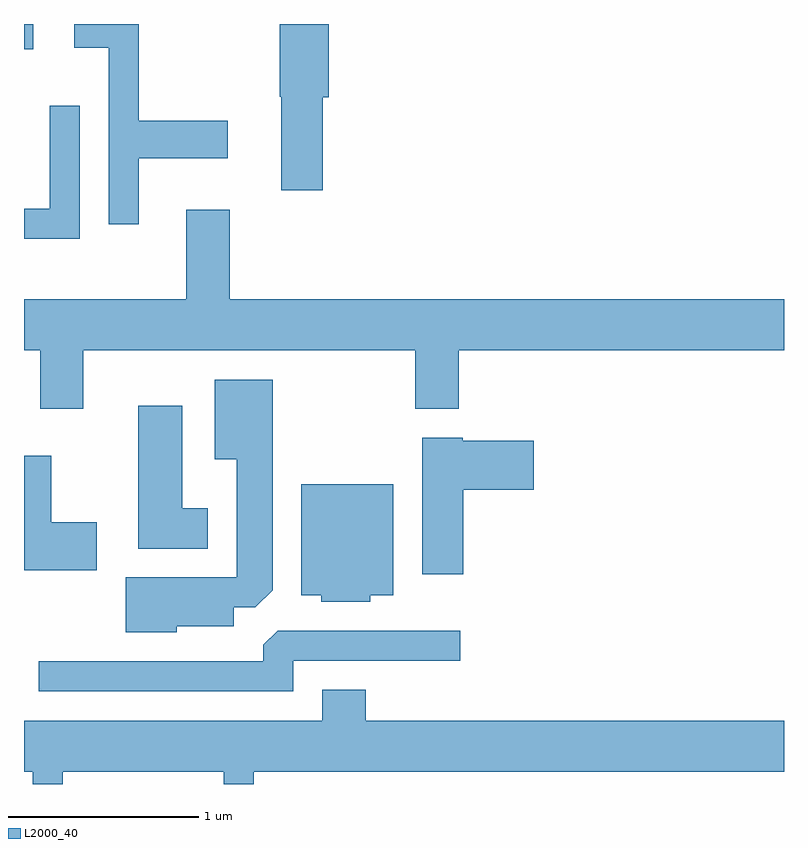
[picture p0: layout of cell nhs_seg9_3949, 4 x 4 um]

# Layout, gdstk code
import gdstk
lib = gdstk.Library(unit=1e-6, precision=1e-09)
def R(c, l, rs):  # rectangles x0, y0, x1, y1
    for r in rs: c.add(gdstk.rectangle(r[:2], r[2:], *l))
def P(c, l, *ps):  # polygons
    for p in ps: c.add(gdstk.Polygon(p, *l))
L2000_40 = (2000, 40)

nhs_seg9_3949 = lib.new_cell('nhs_seg9_3949')
R(nhs_seg9_3949, L2000_40, [(301.611,1982.298,301.659,1982.432)])
P(nhs_seg9_3949, L2000_40, [(302.214,1981.726),(302.684,1981.726),(302.684,1981.924),(302.214,1981.924),(302.214,1982.432),(301.876,1982.432),(301.876,1982.306),(302.056,1982.306),(302.056,1981.378),(302.214,1981.378)],
  [(303.184,1982.046),(303.214,1982.046),(303.214,1982.432),(302.956,1982.432),(302.956,1982.05),(302.966,1982.05),(302.966,1981.556),(303.184,1981.556)],
  [(301.904,1982.003),(301.746,1982.003),(301.746,1981.459),(301.611,1981.459),(301.611,1981.301),(301.904,1981.301)],
  [(301.924,1980.716),(303.671,1980.716),(303.671,1980.406),(303.899,1980.406),(303.899,1980.716),(305.611,1980.716),(305.611,1980.984),(302.694,1980.984),(302.694,1981.454),(302.466,1981.454),(302.466,1980.984),(301.611,1980.984),(301.611,1980.716),(301.696,1980.716),(301.696,1980.406),(301.924,1980.406)],
  [(302.414,1979.261),(302.714,1979.261),(302.714,1979.361),(302.829,1979.361),(302.919,1979.452),(302.919,1980.559),(302.616,1980.559),(302.616,1980.141),(302.731,1980.141),(302.731,1979.519),(302.146,1979.519),(302.146,1979.231),(302.414,1979.231)],
  [(302.579,1979.884),(302.444,1979.884),(302.444,1980.424),(302.211,1980.424),(302.211,1979.671),(302.579,1979.671)],
  [(303.924,1979.981),(304.294,1979.981),(304.294,1980.239),(303.92,1980.239),(303.92,1980.254),(303.706,1980.254),(303.706,1979.536),(303.924,1979.536)],
  [(301.994,1979.809),(301.754,1979.809),(301.754,1980.159),(301.611,1980.159),(301.611,1979.556),(301.994,1979.556)],
  [(303.434,1979.426),(303.554,1979.426),(303.554,1980.009),(303.071,1980.009),(303.071,1979.426),(303.176,1979.426),(303.176,1979.391),(303.434,1979.391)],
  [(303.029,1979.081),(303.908,1979.081),(303.908,1979.239),(302.947,1979.239),(302.871,1979.164),(302.871,1979.079),(301.688,1979.079),(301.688,1978.921),(303.029,1978.921)],
  [(301.814,1978.496),(302.661,1978.496),(302.661,1978.432),(302.819,1978.432),(302.819,1978.496),(305.611,1978.496),(305.611,1978.764),(303.409,1978.764),(303.409,1978.929),(303.181,1978.929),(303.181,1978.764),(301.611,1978.764),(301.611,1978.496),(301.656,1978.496),(301.656,1978.432),(301.814,1978.432)])

lib.write_gds('nhs_seg9_3949.gds')
